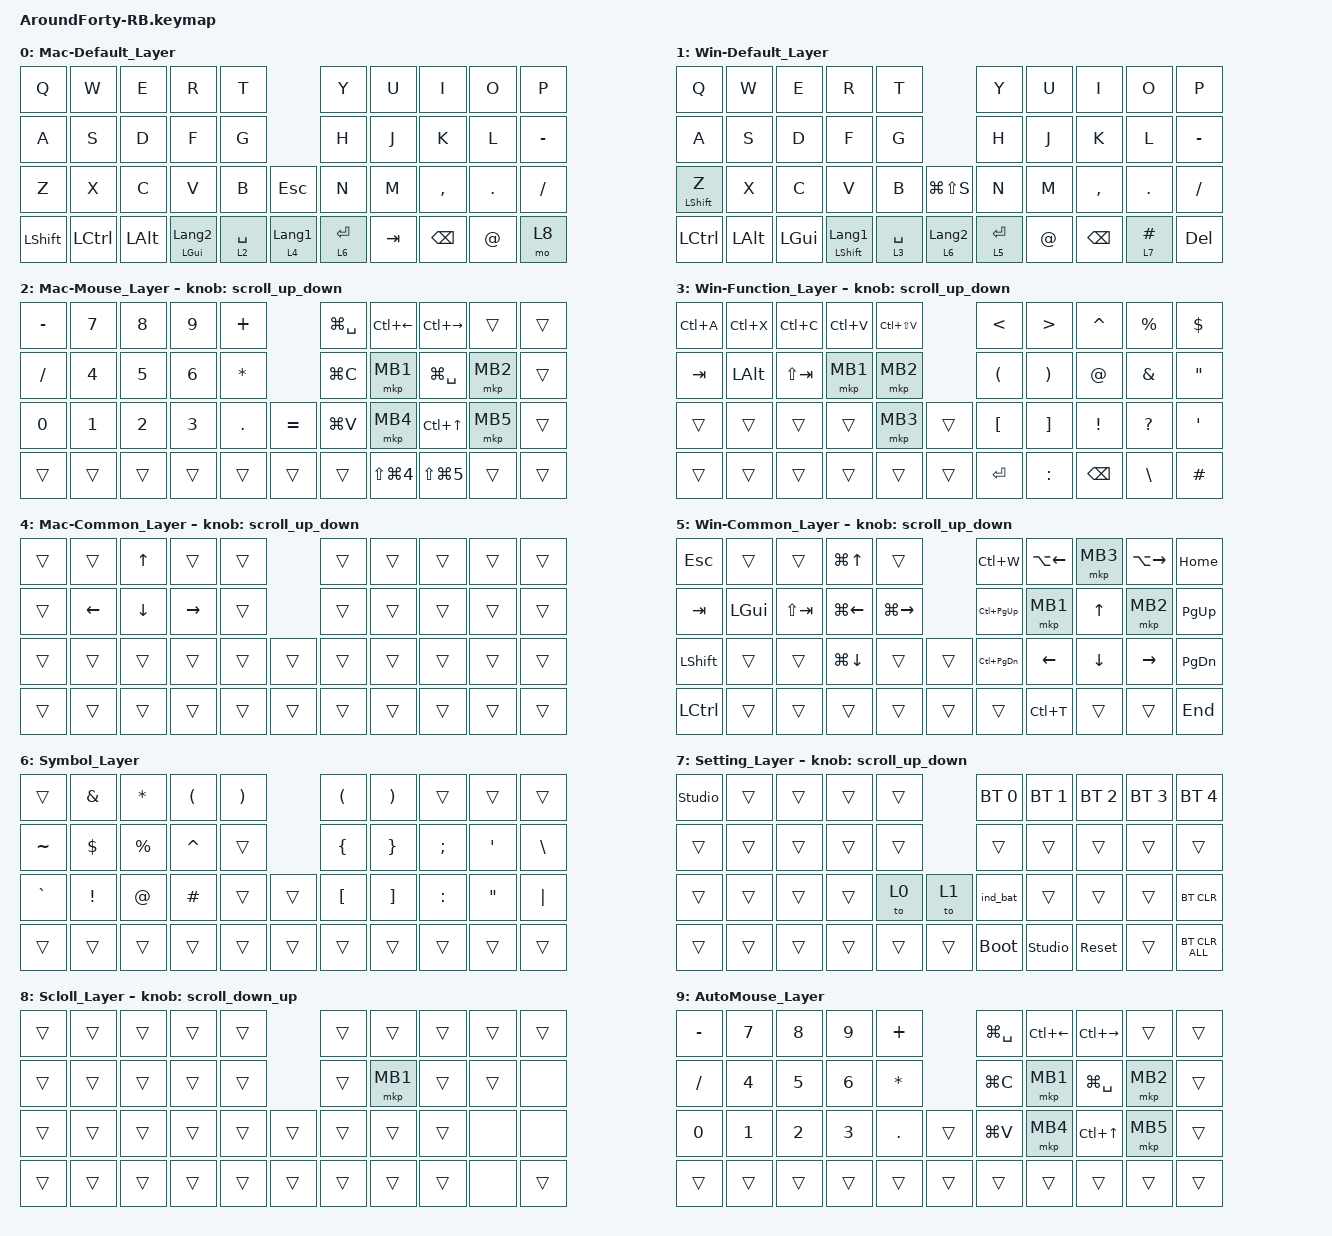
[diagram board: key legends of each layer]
#ifdef ZMK_POINTING_DEFAULT_SCRL_VAL
#undef ZMK_POINTING_DEFAULT_SCRL_VAL
#endif
#define ZMK_POINTING_DEFAULT_SCRL_VAL 100
#define MOUSE 9

#include <behaviors/rgbled_widget.dtsi>  // RGBLEDウィジェットのビヘイビアを使うため
#include <input/processors.dtsi>  // Input Processor（AML延長用）を使うため
#include <behaviors.dtsi>
#include <dt-bindings/zmk/bt.h>
#include <dt-bindings/zmk/keys.h>
#include <dt-bindings/zmk/pointing.h>

/* タップホールドの味付け */

&mt {
    flavor = "balanced";
    quick-tap-ms = <0>;
};

/ {
    /* ==== コンボ定義 ==== */

    combos {
        compatible = "zmk,combos";

        to_Setting_Layer_combo {
            bindings = <&mo 7>;
            key-positions = <31 36>;
        };

        text1 {
            bindings = <&text1>;
            key-positions = <38 30>;
        };

        text2 {
            bindings = <&text2>;
            key-positions = <26 30>;
        };

        text3 {
            bindings = <&text3>;
            key-positions = <27 30>;
        };

        text4 {
            bindings = <&text4>;
            key-positions = <28 30>;
        };

        text5 {
            bindings = <&text5>;
            key-positions = <29 30>;
        };

        macOS_Lock {
            bindings = <&macOS_Lock>;
            key-positions = <25 38>;
        };

        mousekeys {
            bindings = <&none>;
            key-positions = <5 6 7 18 17 16 15 26 27 28 29>;
        };

        textB-1 {
            bindings = <&textB1>;
            key-positions = <15 30>;
        };

        textB-2 {
            bindings = <&textB2>;
            key-positions = <16 30>;
        };

        textB-3 {
            bindings = <&textB3>;
            key-positions = <17 30>;
        };
    };

    /* ==== マクロ定義 ==== */

    macros {
        to_layer_0: to_layer_0 {
            compatible = "zmk,behavior-macro-one-param";
            #binding-cells = <1>;
            bindings = <&to 0 &macro_param_1to1 &kp MACRO_PLACEHOLDER>;
            label = "TO_LAYER_0";
        };

        text1: text1 {
            compatible = "zmk,behavior-macro";
            #binding-cells = <0>;
            bindings = <&kp LS(D) &kp O &kp S &kp U &kp A &kp M &kp A &kp N4 &kp N8 &kp N6 &kp N9 &kp MINUS &kp N2 &kp N6 &kp N0 &kp NUMBER_4 &kp ENTER &none>;
            label = "TEXT1";
        };

        text2: text2 {
            compatible = "zmk,behavior-macro";
            #binding-cells = <0>;
            bindings = <&kp LS(H) &kp LS(P) &kp LS(R) &kp LS(H) &kp LS(E) &kp LS(O)>;
            label = "TEXT2";
        };

        text3: text3 {
            compatible = "zmk,behavior-macro";
            #binding-cells = <0>;
            bindings = <&kp J &kp I &kp E &kp I &kp A &kp R &kp I &kp T &kp O &kp DOT &kp T &kp A &kp K &kp A &kp M &kp A &kp T &kp S &kp U &kp AT &kp A &kp S &kp S &kp U &kp R &kp A &kp N &kp T &kp DOT &kp C &kp O &kp M>;
            label = "TEXT3";
        };

        text4: text4 {
            compatible = "zmk,behavior-macro";
            #binding-cells = <0>;
            bindings = <&kp LC(LA(DELETE))>;
            label = "TEXT4";
        };

        text5: text5 {
            compatible = "zmk,behavior-macro";
            #binding-cells = <0>;
            bindings = <&kp LANG2 &kp LPAR &kp RPAR &kp LEFT_ARROW>;
            label = "TEXT5";
        };

        macOS_Lock: macOS_Lock {
            compatible = "zmk,behavior-macro";
            #binding-cells = <0>;
            bindings = <&kp LG(LC(Q))>;
            label = "MACOS_LOCK";
        };

        textB1: textB1 {
            compatible = "zmk,behavior-macro";
            #binding-cells = <0>;
            bindings = <&kp N7 &kp Y &kp LS(J) &kp N6 &kp LS(B) &kp LS(A) &kp N6 &kp N5 &kp N &kp X &kp LS(S) &kp N7 &kp T &kp LS(P) &kp K &none>;
            label = "TEXTB1";
        };

        textB2: textB2 {
            compatible = "zmk,behavior-macro";
            #binding-cells = <0>;
            bindings = <&kp LS(J) &kp LS(P) &kp LS(I) &kp LS(K) &kp LS(R) &kp LS(B)>;
            label = "TEXTB2";
        };

        textB3: textB3 {
            compatible = "zmk,behavior-macro";
            #binding-cells = <0>;
            bindings = <&kp LS(J) &kp A &kp P &kp A &kp N &kp UNDER &kp LS(R) &kp LS(B) &kp UNDER &kp LS(P) &kp LS(A) &kp AT &kp A &kp S &kp S &kp U &kp R &kp A &kp N &kp T &kp DOT &kp C &kp O &kp M>;
            label = "TEXTB3";
        };
    };

    /* ==== カスタム・ビヘイビア定義 ==== */

    behaviors {
        /* レイヤータップ（短押しTO 0） */

        lt_to_layer_0: lt_to_layer_0 {
            compatible = "zmk,behavior-hold-tap";
            label = "LAYER_TAP_TO_0";
            bindings = <&mo>, <&to_layer_0>;

            #binding-cells = <2>;
            tapping-term-ms = <200>;
        };

        lt_layer6_enter: lt_layer6_enter {
            compatible = "zmk,behavior-hold-tap";
            label = "LT_LAYER6_ENTER";
            bindings = <&mo>, <&kp>;
            #binding-cells = <2>;
            flavor = "hold-preferred";
            tapping-term-ms = <120>;
            quick-tap-ms = <0>;
        };

        /* 通常方向（基準） */

        scroll_up_down: behavior_sensor_rotate_mouse_wheel_up_down {
            compatible = "zmk,behavior-sensor-rotate";
            #sensor-binding-cells = <0>;
            bindings = <&msc SCRL_UP>, <&msc SCRL_DOWN>;

            tap-ms = <20>;
        };

        /* ナチュラルスクロール（Mac想定：通常のエンコーダーとは逆方向） */

        scroll_down_up: behavior_sensor_rotate_mouse_wheel_down_up {
            compatible = "zmk,behavior-sensor-rotate";
            #sensor-binding-cells = <0>;

            /* 体感に合わせて UP, DOWN の順 */

            bindings = <&msc SCRL_UP>, <&msc SCRL_DOWN>;

            tap-ms = <20>;
        };
    };

    /* ==== キーマップ ==== */

    keymap {
        compatible = "zmk,keymap";

        Mac-Default_Layer {
            bindings = <
&kp Q           &kp W      &kp E         &kp R                    &kp T                          &kp Y        &kp U    &kp I          &kp O        &kp P
&kp A           &kp S      &kp D         &kp F                    &kp G                          &kp H        &kp J    &kp K          &kp L        &kp MINUS
&kp Z           &kp X      &kp C         &kp V                    &kp B        &kp ESCAPE        &kp N        &kp M    &kp COMMA      &kp PERIOD   &kp SLASH
&kp LEFT_SHIFT  &kp LCTRL  &kp LEFT_ALT  &mt LEFT_GUI LANGUAGE_2  &lt 2 SPACE  &lt 4 LANGUAGE_1  &lt_layer6_enter 6 ENTER  &kp TAB  &kp BACKSPACE  &kp AT_SIGN  &mo 8
            >;
        };

        Win-Default_Layer {
            bindings = <
&kp Q             &kp W         &kp E         &kp R                      &kp T                          &kp Y        &kp U        &kp I          &kp O       &kp P
&kp A             &kp S         &kp D         &kp F                      &kp G                          &kp H        &kp J        &kp K          &kp L       &kp MINUS
&mt LEFT_SHIFT Z  &kp X         &kp C         &kp V                      &kp B        &kp LG(LS(S))     &kp N        &kp M        &kp COMMA      &kp PERIOD  &kp SLASH
&kp LCTRL         &kp LEFT_ALT  &kp LEFT_GUI  &mt LEFT_SHIFT LANGUAGE_1  &lt 3 SPACE  &lt 6 LANGUAGE_2  &lt 5 ENTER  &kp AT_SIGN  &kp BACKSPACE  &lt 7 HASH  &kp DELETE
            >;
        };

        Mac-Mouse_Layer {
            bindings = <
&kp MINUS     &kp NUMBER_7  &kp NUMBER_8  &kp NUMBER_9  &kp PLUS                 &kp LG(SPACE)  &kp LC(LEFT)          &kp LC(RIGHT)         &trans    &trans
&kp SLASH     &kp NUMBER_4  &kp NUMBER_5  &kp NUMBER_6  &kp ASTERISK             &kp LG(C)      &mkp MB1              &kp LG(SPACE)         &mkp MB2  &trans
&kp NUMBER_0  &kp NUMBER_1  &kp NUMBER_2  &kp NUMBER_3  &kp PERIOD    &kp EQUAL  &kp LG(V)      &mkp MB4              &kp LC(UP_ARROW)      &mkp MB5  &trans
&trans        &trans        &trans        &trans        &trans        &trans     &trans         &kp LS(LG(NUMBER_4))  &kp LS(LG(NUMBER_5))  &trans    &trans
            >;

            sensor-bindings = <&scroll_up_down>;
        };

        Win-Function_Layer {
            bindings = <
&kp LC(A)  &kp LC(X)     &kp LC(C)    &kp LC(V)  &kp LC(LS(V))          &kp LESS_THAN         &kp GREATER_THAN       &kp CARET        &kp PERCENT    &kp DOLLAR
&kp TAB    &kp LEFT_ALT  &kp LS(TAB)  &mkp MB1   &mkp MB2               &kp LEFT_PARENTHESIS  &kp RIGHT_PARENTHESIS  &kp AT_SIGN      &kp AMPERSAND  &kp DOUBLE_QUOTES
&trans     &trans        &trans       &trans     &mkp MB3       &trans  &kp LEFT_BRACKET      &kp RIGHT_BRACKET      &kp EXCLAMATION  &kp QUESTION   &kp SQT
&trans     &trans        &trans       &trans     &trans         &trans  &kp ENTER             &kp COLON              &kp BACKSPACE    &kp BACKSLASH  &kp HASH
            >;

            sensor-bindings = <&scroll_up_down>;
        };

        Mac-Common_Layer {
            bindings = <
&trans  &trans          &kp UP_ARROW    &trans     &trans          &trans  &trans  &trans  &trans  &trans
&trans  &kp LEFT_ARROW  &kp DOWN_ARROW  &kp RIGHT  &trans          &trans  &trans  &trans  &trans  &trans
&trans  &trans          &trans          &trans     &trans  &trans  &trans  &trans  &trans  &trans  &trans
&trans  &trans          &trans          &trans     &trans  &trans  &trans  &trans  &trans  &trans  &trans
            >;

            sensor-bindings = <&scroll_up_down>;
        };

        Win-Common_Layer {
            bindings = <
&kp ESCAPE      &trans        &trans       &kp LG(UP_ARROW)    &trans                       &kp LC(W)          &kp LA(LEFT_ARROW)  &mkp MB3        &kp LA(RIGHT_ARROW)  &kp HOME
&kp TAB         &kp LEFT_GUI  &kp LS(TAB)  &kp LG(LEFT_ARROW)  &kp LG(RIGHT_ARROW)          &kp LC(PAGE_UP)    &mkp MB1            &kp UP_ARROW    &mkp MB2             &kp PAGE_UP
&kp LEFT_SHIFT  &trans        &trans       &kp LG(DOWN_ARROW)  &trans               &trans  &kp LC(PAGE_DOWN)  &kp LEFT_ARROW      &kp DOWN_ARROW  &kp RIGHT_ARROW      &kp PAGE_DOWN
&kp LCTRL       &trans        &trans       &trans              &trans               &trans  &trans             &kp LC(T)           &trans          &trans               &kp END
            >;

            sensor-bindings = <&scroll_up_down>;
        };

        Symbol_Layer {
            bindings = <
&trans     &kp AMPERSAND    &kp ASTERISK  &kp LPAR   &kp RPAR          &kp LEFT_PARENTHESIS  &kp RIGHT_PARENTHESIS  &trans         &trans             &trans
&kp TILDE  &kp DOLLAR       &kp PERCENT   &kp CARET  &trans            &kp LEFT_BRACE        &kp RIGHT_BRACE        &kp SEMICOLON  &kp SQT            &kp BACKSLASH
&kp GRAVE  &kp EXCLAMATION  &kp AT_SIGN   &kp HASH   &trans    &trans  &kp LEFT_BRACKET      &kp RIGHT_BRACKET      &kp COLON      &kp DOUBLE_QUOTES  &kp PIPE
&trans     &trans           &trans        &trans     &trans    &trans  &trans                &trans                 &trans         &trans             &trans
            >;
        };

        Setting_Layer {
            bindings = <
&studio_unlock  &trans  &trans  &trans  &trans          &bt BT_SEL 0  &bt BT_SEL 1    &bt BT_SEL 2  &bt BT_SEL 3  &bt BT_SEL 4
&trans          &trans  &trans  &trans  &trans          &trans        &trans          &trans        &trans        &trans
&trans          &trans  &trans  &trans  &to 0   &to 1   &ind_bat      &trans          &trans        &trans        &bt BT_CLR
&trans          &trans  &trans  &trans  &trans  &trans  &bootloader   &studio_unlock  &sys_reset    &trans        &bt BT_CLR_ALL
            >;

            sensor-bindings = <&scroll_up_down>;
        };

        /* スクロール専用レイヤ（overlay 側で scroll-layers に指定して有効化） */

        Scloll_Layer {
            bindings = <
&trans  &trans  &trans  &trans  &trans          &trans  &trans    &trans  &trans  &trans
&trans  &trans  &trans  &trans  &trans          &trans  &mkp MB1  &trans  &trans  &none
&trans  &trans  &trans  &trans  &trans  &trans  &trans  &trans    &trans  &none   &none
&trans  &trans  &trans  &trans  &trans  &trans  &trans  &trans    &trans  &none   &trans
            >;

            /* ナチュラルスクロールを適用 */

            sensor-bindings = <&scroll_down_up>;
        };

        AutoMouse_Layer {
            bindings = <
&kp MINUS     &kp NUMBER_7  &kp NUMBER_8  &kp NUMBER_9  &kp PLUS              &kp LG(SPACE)  &kp LC(LEFT)  &kp LC(RIGHT)     &trans    &trans
&kp SLASH     &kp NUMBER_4  &kp NUMBER_5  &kp NUMBER_6  &kp ASTERISK          &kp LG(C)      &mkp MB1      &kp LG(SPACE)     &mkp MB2  &trans
&kp NUMBER_0  &kp NUMBER_1  &kp NUMBER_2  &kp NUMBER_3  &kp PERIOD    &trans  &kp LG(V)      &mkp MB4      &kp LC(UP_ARROW)  &mkp MB5  &trans
&trans        &trans        &trans        &trans        &trans        &trans  &trans         &trans        &trans            &trans    &trans
            >;
        };
    };
};

/* ★ ここは “トップレベル”。/ { … } の “外” に置くのが正解！ */
/* クリックなどのマウス操作のたびに MOUSE(=6) を 2000ms 延長（AML用） */

&mkp_input_listener { input-processors = <&zip_temp_layer 9 900>; };
